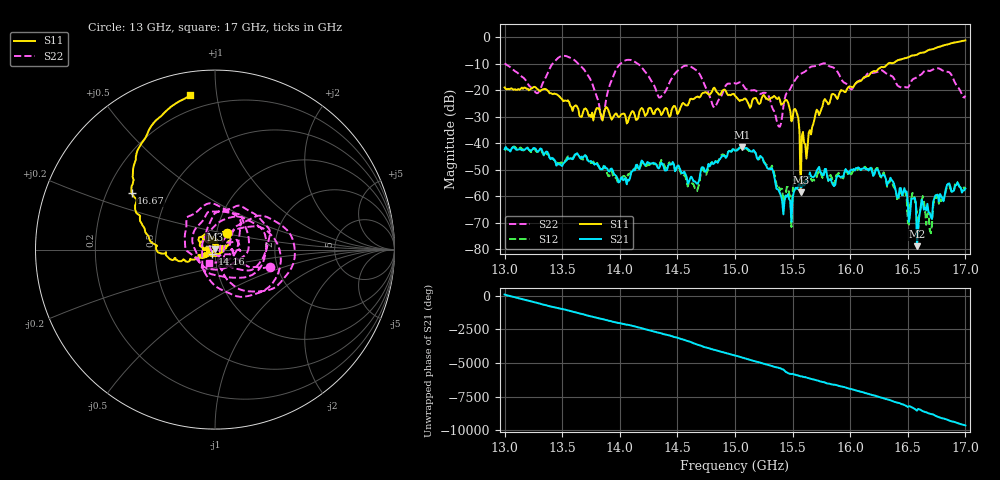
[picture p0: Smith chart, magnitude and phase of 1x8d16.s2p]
!Keysight Technologies,P9374A,MY57211807,A.19.30.04
!Date: Friday, May 08, 2026 15:18:23
!Correction: S11(C  2-Port  )
!S21(C  2-Port  )
!S12(C  2-Port  )
!S22(C  2-Port  )
!S2P File: Measurements: S11, S21, S12, S22:
# Hz S  dB  R 50
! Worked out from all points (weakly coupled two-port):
!   401 points, 13 GHz to 17 GHz, reference 50 ohm
!   highest |S21| = -41.42 dB at 15.06 GHz (marker M1); lowest = -78.9 dB at 16.58 GHz (marker M2)
!   lowest |S11| = -58.6 dB at 15.57 GHz (marker M3), VSWR 1.00, Z = 49.9 + j0.0831 ohm
!   |S11| at or under -10 dB: start of sweep to 16.33 GHz
!   |S22| runs from -33.8 to -7.0 dB; largest |S21 - S12| = 0.0011
!   S11 on the Smith chart (normalised r, x): 13 GHz: 1.12, +0.21; 14.16 GHz: 0.96, -0.05; 16.67 GHz: 0.31, +0.28; 17 GHz: 0.12, +0.85
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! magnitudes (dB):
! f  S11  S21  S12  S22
! 13 GHz  -18.9  -42.3  -42.7  -9.9
! 13.28 GHz  -19.4  -43.0  -43.3  -21.2
! 13.48 GHz  -22.5  -48.0  -47.6  -7.3
! 13.67 GHz  -30.1  -45.1  -45.9  -11.3
! 13.85 GHz  -31.4  -49.9  -49.9  -31.3
! 13.99 GHz  -30.2  -54.9  -54.3  -10.7
! 14.16 GHz  -30.5  -49.5  -49.0  -10.2
! 14.34 GHz  -27.4  -49.5  -48.8  -22.8
! 14.67 GHz  -22.5  -55.4  -58.1  -12.6
! 14.82 GHz  -19.0  -47.6  -47.7  -26.5
! 15 GHz  -22.1  -42.9  -42.7  -17.4
! 15.06 GHz  -23.8  -41.4  -41.6  -17.4
! 15.38 GHz  -22.6  -57.9  -56.3  -33.7
! 15.48 GHz  -27.8  -61.8  -60.1  -19.5
! 15.53 GHz  -27.7  -56.6  -54.1  -15.6
! 15.57 GHz  -58.6  -56.8  -53.6  -13.8
! 15.67 GHz  -33.9  -52.8  -54.3  -11.0
! 16.01 GHz  -18.7  -50.0  -51.8  -19.7
! 16.34 GHz  -9.7  -54.2  -54.9  -14.2
! 16.58 GHz  -6.6  -78.9  -66.7  -15.0
! 16.67 GHz  -5.0  -62.9  -66.9  -12.5
! 17 GHz  -1.2  -57.2  -56.6  -22.1
